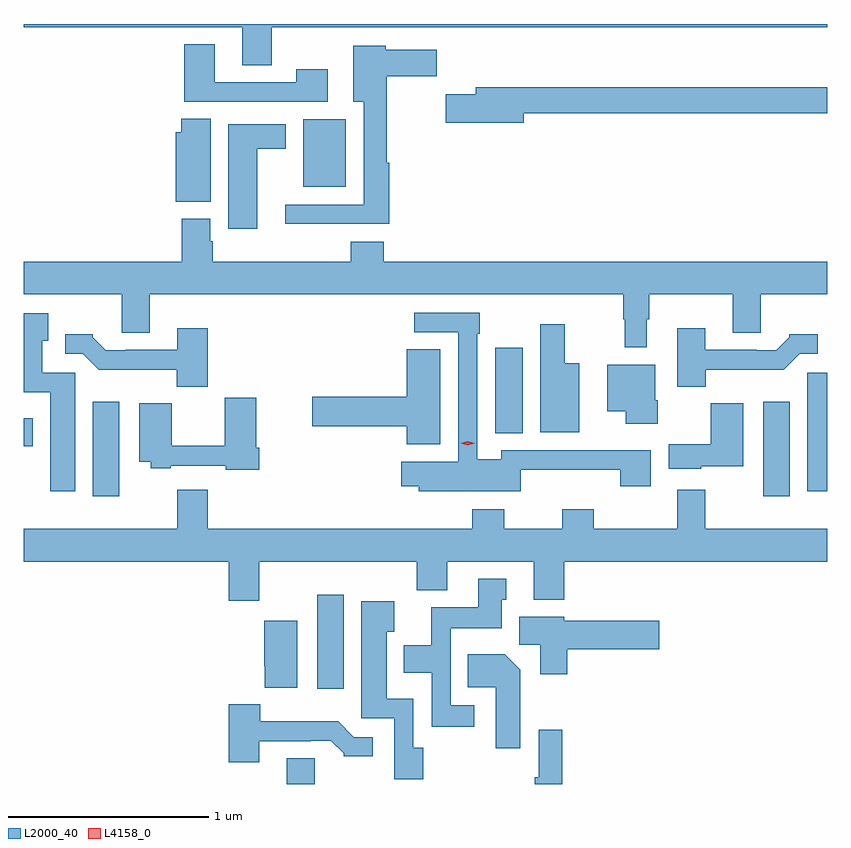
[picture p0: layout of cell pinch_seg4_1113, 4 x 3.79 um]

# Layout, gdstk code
import gdstk
lib = gdstk.Library(unit=1e-6, precision=1e-09)
def R(c, l, rs):  # rectangles x0, y0, x1, y1
    for r in rs: c.add(gdstk.rectangle(r[:2], r[2:], *l))
def P(c, l, *ps):  # polygons
    for p in ps: c.add(gdstk.Polygon(p, *l))
L2000_40 = (2000, 40)
L4158_0 = (4158, 0)

pinch_seg4_1113 = lib.new_cell('pinch_seg4_1113')
R(pinch_seg4_1113, L2000_40, [(494.435,829.014,494.575,829.142), (494.588,829.488,494.719,829.957), (493.469,830.448,493.6,830.917), (496.808,830.448,496.939,830.917), (497.027,830.472,497.126,831.063), (493.126,830.696,493.171,830.836), (495.473,830.761,495.61,831.187), (494.516,831.989,494.728,832.324)])
P(pinch_seg4_1113, L2000_40, [(494.361,832.784),(497.126,832.784),(497.126,832.799),(493.126,832.799),(493.126,832.784),(494.213,832.784),(494.213,832.594),(494.361,832.594)],
  [(494.638,832.573),(494.482,832.573),(494.482,832.509),(494.077,832.509),(494.077,832.699),(493.925,832.699),(493.925,832.413),(494.638,832.413)],
  [(494.945,832.107),(494.932,832.107),(494.932,832.538),(495.181,832.538),(495.181,832.672),(494.928,832.672),(494.928,832.69),(494.765,832.69),(494.765,832.412),(494.819,832.412),(494.819,831.9),(494.427,831.9),(494.427,831.803),(494.945,831.803)],
  [(495.616,832.354),(497.126,832.354),(497.126,832.483),(495.377,832.483),(495.377,832.449),(495.228,832.449),(495.228,832.307),(495.616,832.307)],
  [(494.056,832.328),(493.91,832.328),(493.91,832.261),(493.883,832.261),(493.883,831.914),(494.056,831.914)],
  [(494.287,832.178),(494.431,832.178),(494.431,832.3),(494.144,832.3),(494.144,831.78),(494.287,831.78)],
  [(496.228,831.329),(496.24,831.329),(496.24,831.452),(496.655,831.452),(496.655,831.262),(496.795,831.262),(496.795,831.452),(497.126,831.452),(497.126,831.616),(494.918,831.616),(494.918,831.715),(494.753,831.715),(494.753,831.616),(494.066,831.616),(494.066,831.717),(494.053,831.717),(494.053,831.829),(493.913,831.829),(493.913,831.616),(493.126,831.616),(493.126,831.452),(493.613,831.452),(493.613,831.262),(493.753,831.262),(493.753,831.452),(496.111,831.452),(496.111,831.329),(496.119,831.329),(496.119,831.189),(496.228,831.189)],
  [(495.6,830.579),(496.097,830.579),(496.097,830.496),(496.249,830.496),(496.249,830.677),(496.013,830.677),(496.013,830.676),(495.504,830.676),(495.504,830.632),(495.384,830.632),(495.384,831.257),(495.397,831.257),(495.397,831.36),(495.069,831.36),(495.069,831.264),(495.288,831.264),(495.288,830.62),(495.006,830.62),(495.006,830.498),(495.093,830.498),(495.093,830.471),(495.6,830.471)],
  [(493.381,831.063),(493.218,831.063),(493.218,831.222),(493.246,831.222),(493.246,831.358),(493.126,831.358),(493.126,830.966),(493.256,830.966),(493.256,830.472),(493.381,830.472)],
  [(495.892,831.109),(495.82,831.109),(495.82,831.304),(495.698,831.304),(495.698,830.765),(495.892,830.765)],
  [(496.522,831.078),(496.911,831.078),(496.989,831.156),(497.08,831.156),(497.08,831.253),(496.938,831.253),(496.938,831.238),(496.874,831.174),(496.775,831.174),(496.775,831.177),(496.519,831.177),(496.519,831.283),(496.379,831.283),(496.379,830.993),(496.522,830.993)],
  [(494.042,831.283),(493.889,831.283),(493.889,831.177),(493.633,831.177),(493.633,831.174),(493.534,831.174),(493.47,831.238),(493.47,831.253),(493.331,831.253),(493.331,831.156),(493.419,831.156),(493.498,831.078),(493.887,831.078),(493.887,830.993),(494.042,830.993)],
  [(495.199,831.179),(495.032,831.179),(495.032,830.942),(494.562,830.942),(494.562,830.795),(495.032,830.795),(495.032,830.705),(495.199,830.705)],
  [(496.282,830.925),(496.27,830.925),(496.27,831.103),(496.031,831.103),(496.031,830.87),(496.124,830.87),(496.124,830.807),(496.282,830.807)],
  [(494.297,830.689),(494.284,830.689),(494.284,830.938),(494.126,830.938),(494.126,830.699),(493.862,830.699),(493.862,830.911),(493.7,830.911),(493.7,830.618),(493.758,830.618),(493.758,830.586),(493.858,830.586),(493.858,830.598),(494.13,830.598),(494.13,830.578),(494.297,830.578)],
  [(496.5,830.597),(496.708,830.597),(496.708,830.911),(496.546,830.911),(496.546,830.707),(496.338,830.707),(496.338,830.585),(496.5,830.585)],
  [(494.299,830.12),(495.083,830.12),(495.083,829.979),(495.235,829.979),(495.235,830.12),(495.665,830.12),(495.665,829.931),(495.818,829.931),(495.818,830.12),(497.126,830.12),(497.126,830.284),(496.519,830.284),(496.519,830.479),(496.379,830.479),(496.379,830.284),(495.963,830.284),(495.963,830.383),(495.808,830.383),(495.808,830.284),(495.519,830.284),(495.519,830.383),(495.359,830.383),(495.359,830.284),(494.042,830.284),(494.042,830.479),(493.889,830.479),(493.889,830.284),(493.126,830.284),(493.126,830.12),(494.147,830.12),(494.147,829.926),(494.299,829.926)],
  [(495.37,829.407),(495.252,829.407),(495.252,829.79),(495.505,829.79),(495.505,829.932),(495.529,829.932),(495.529,830.035),(495.389,830.035),(495.389,829.894),(495.155,829.894),(495.155,829.706),(495.017,829.706),(495.017,829.568),(495.156,829.568),(495.156,829.299),(495.37,829.299)],
  [(495.114,829.194),(495.066,829.194),(495.066,829.438),(494.932,829.438),(494.932,829.772),(494.97,829.772),(494.97,829.924),(494.807,829.924),(494.807,829.341),(494.97,829.341),(494.97,829.038),(495.114,829.038)],
  [(495.833,829.685),(496.291,829.685),(496.291,829.827),(495.816,829.827),(495.816,829.846),(495.593,829.846),(495.593,829.708),(495.698,829.708),(495.698,829.56),(495.833,829.56)],
  [(494.488,829.828),(494.324,829.828),(494.324,829.6),(494.326,829.6),(494.326,829.493),(494.488,829.493)],
  [(495.598,829.582),(495.52,829.66),(495.337,829.66),(495.337,829.496),(495.476,829.496),(495.476,829.191),(495.598,829.191)],
  [(494.299,829.227),(494.555,829.227),(494.555,829.23),(494.654,829.23),(494.718,829.166),(494.718,829.151),(494.863,829.151),(494.863,829.248),(494.769,829.248),(494.691,829.327),(494.302,829.327),(494.302,829.411),(494.147,829.411),(494.147,829.122),(494.299,829.122)],
  [(495.806,829.285),(495.69,829.285),(495.69,829.048),(495.67,829.048),(495.67,829.014),(495.806,829.014)])
P(pinch_seg4_1113, L4158_0, [(495.336,830.701),(495.301,830.711),(495.301,830.711),(495.301,830.711),(495.336,830.721),(495.371,830.712),(495.371,830.712),(495.371,830.712)])

lib.write_gds('pinch_seg4_1113.gds')
